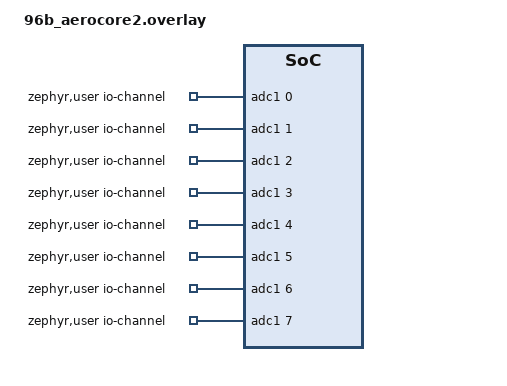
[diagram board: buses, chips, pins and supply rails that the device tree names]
/*
 * SPDX-License-Identifier: Apache-2.0
 *
 * Copyright (c) 2020 Libre Solar Technologies GmbH
 */

/ {
	zephyr,user {
		/* adjust channel number according to pinmux in board.dts */
		io-channels = <&adc1 0>,
				<&adc1 1>,
				<&adc1 2>,
				<&adc1 3>,
				<&adc1 4>,
				<&adc1 5>,
				<&adc1 6>,
				<&adc1 7>,
				<&adc1 8>;
	};
};

